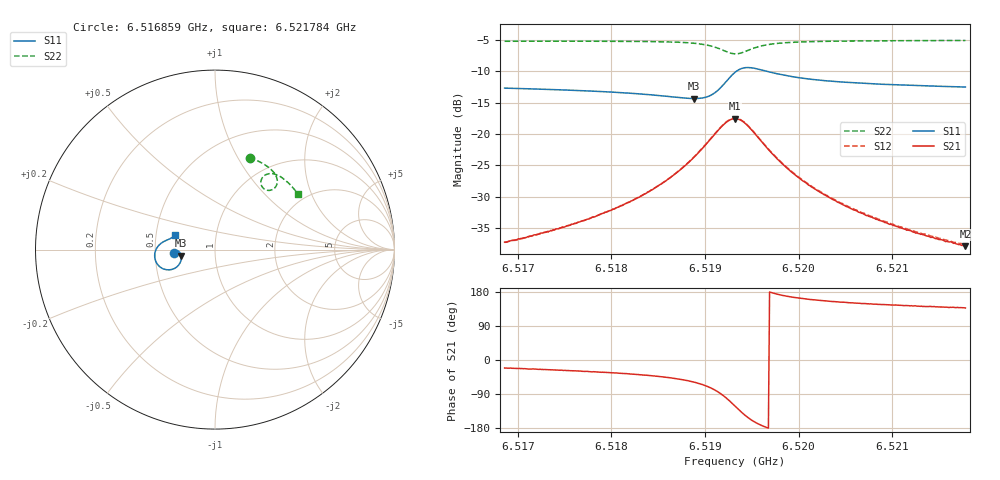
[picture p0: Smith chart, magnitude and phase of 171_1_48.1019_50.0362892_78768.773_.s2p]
#  HZ  S  RI  R  50.00
! Rohde & Schwarz Vector Network Analyzer
! Rohde-Schwarz,ZNB20-2Port,1311601062101988,3.16
! Created: UTC 12/23/2023, 3:51:45 AM
! freq[Hz]  re:S11  im:S11  re:S21  im:S21  re:S12  im:S12  re:S22  im:S22
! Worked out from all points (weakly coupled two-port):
!   401 points, 6.516859 GHz to 6.521784 GHz, reference 50 ohm
!   highest |S21| = -17.54 dB at 6.519321 GHz (marker M1); lowest = -37.9 dB at 6.521784 GHz (marker M2)
!   lowest |S11| = -14.3 dB at 6.518878 GHz (marker M3), VSWR 1.47, Z = 34.1 - j2.35 ohm
!   |S11| at or under -10 dB: start of sweep to 6.519337 GHz; 6.51966 GHz to end of sweep
!   |S22| runs from -7.2 to -5.1 dB; largest |S21 - S12| = 0.0042
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6.5168591e9  -0.2312 -0.0198  0.0129 -0.00497  0.0129 -0.00454  0.1932 0.5127
6.5173147e9  -0.2265 -0.013  0.0151 -0.00719  0.0152 -0.00664  0.2271 0.4992
6.517684e9  -0.2214 -0.00837  0.0176 -0.01  0.018 -0.00936  0.2545 0.486
6.5181025e9  -0.2136 -0.00592  0.0219 -0.0155  0.0225 -0.0149  0.2858 0.4672
6.5183118e9  -0.2083 -0.00666  0.0249 -0.0201  0.0255 -0.0193  0.3017 0.4555
6.5185088e9  -0.2023 -0.00972  0.0284 -0.0268  0.0292 -0.026  0.3171 0.4419
6.5187058e9  -0.195 -0.0178  0.0321 -0.0378  0.0336 -0.0371  0.3322 0.4244
6.5188781e9  -0.1888 -0.0332  0.0342 -0.055  0.0363 -0.0543  0.3439 0.402
6.5190012e9  -0.1883 -0.0535  0.0311 -0.075  0.0339 -0.0744  0.3472 0.3793
6.5190874e9  -0.1949 -0.0742  0.0221 -0.0938  0.025 -0.0937  0.3432 0.3594
6.5192228e9  -0.2358 -0.109  -0.0198 -0.1215  -0.0162 -0.1232  0.3121 0.3314
6.5193213e9  -0.2912 -0.1058  -0.0695 -0.113  -0.0666 -0.116  0.2742 0.3379
6.5193706e9  -0.3156 -0.088  -0.0892 -0.0949  -0.0871 -0.0983  0.2606 0.3532
6.5194321e9  -0.3328 -0.0577  -0.1012 -0.0669  -0.1 -0.0703  0.2554 0.3762
6.5195306e9  -0.3335 -0.0135  -0.0971 -0.0289  -0.0971 -0.0319  0.2673 0.4053
6.5196414e9  -0.3183 0.0173  -0.0809 -0.00521  -0.0814 -0.0076  0.2896 0.4201
6.5198999e9  -0.2855 0.0447  -0.0505 0.0114  -0.0514 0.01  0.332 0.4206
6.5201462e9  -0.2671 0.0535  -0.0352 0.0133  -0.036 0.0125  0.3594 0.4093
6.5205155e9  -0.2507 0.0605  -0.0232 0.0126  -0.024 0.0121  0.3894 0.3886
6.520971e9  -0.2383 0.0674  -0.0158 0.0108  -0.0164 0.0106  0.4184 0.3619
6.5213034e9  -0.2315 0.0721  -0.0125 0.00987  -0.0131 0.00977  0.4367 0.3419
6.5217835e9  -0.2234 0.0788  -0.00939 0.00868  -0.0099 0.0086  0.4601 0.3123
